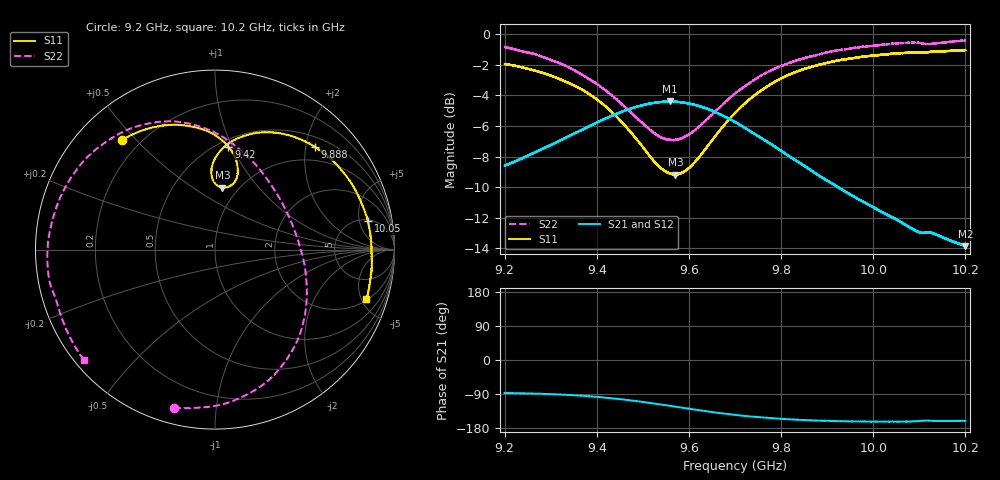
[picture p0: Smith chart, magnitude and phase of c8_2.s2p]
!Agilent Technologies,N5242A,MY51221714,A.09.90.19
!Agilent N5242A: A.09.90.19
!Date: Tuesday, March 26, 2024 16:01:22
!Correction: S11(Full 2 Port(1,2))
!S21(Full 2 Port(1,2))
!S12(Full 2 Port(1,2))
!S22(Full 2 Port(1,2))
!S2P File: Measurements: S11, S21, S12, S22:
# Hz S  dB  R 50
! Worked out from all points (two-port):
!   16001 points, 9.2 GHz to 10.2 GHz, reference 50 ohm
!   highest |S21| = -4.39 dB at 9.559 GHz (marker M1); lowest = -13.9 dB at 10.2 GHz (marker M2)
!   |S21| within 3 dB of the highest: 9.290546 GHz to 9.29079 GHz (243.8 kHz wide, 0.00262 % of centre); 9.291 GHz to 9.788 GHz (497.1 MHz wide, 5.21 % of centre)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
!   lowest |S11| = -9.2 dB at 9.57 GHz (marker M3), VSWR 2.06, Z = 42.4 + j33.2 ohm
!   |S11| at or under -10 dB: nowhere
!   |S22| runs from -6.9 to -0.4 dB; largest |S21 - S12| = 0.0075
!   S11 on the Smith chart (normalised r, x): 9.2 GHz: 0.13, +0.46; 9.42 GHz: 0.56, +0.97; 9.888 GHz: 0.69, +2.18; 10.05 GHz: 5.29, +6.79; 10.2 GHz: 2.09, -5.47
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9.2e9  -1.94 130.3  -8.60 -87.2  -8.58 -88.0  -0.83 -104.5
9.279312e9  -2.50 112.9  -7.54 -89.2  -7.53 -89.8  -1.44 -82.8
9.32425e9  -3.00 102.9  -6.89 -91.3  -6.87 -91.9  -1.95 -70.4
9.366688e9  -3.60 93.6  -6.26 -94.3  -6.26 -94.9  -2.64 -58.6
9.420188e9  -4.75 82.6  -5.49 -99.5  -5.50 -100.2  -3.71 -42.4
9.47775e9  -6.56 74.3  -4.82 -107.2  -4.83 -107.8  -5.24 -21.3
9.533375e9  -8.60 75.6  -4.45 -116.3  -4.44 -116.9  -6.61 6.1
9.559188e9  -9.11 80.5  -4.39 -120.9  -4.39 -121.6  -6.90 21.5
9.5705e9  -9.19 83.2  -4.43 -123.1  -4.40 -123.6  -6.91 28.2
9.638e9  -7.42 92.7  -4.85 -135.2  -4.86 -135.8  -5.59 64.7
9.7e9  -5.16 86.8  -5.73 -144.8  -5.73 -145.4  -3.88 87.9
9.741562e9  -4.02 78.8  -6.51 -149.8  -6.51 -150.4  -2.99 100.3
9.780375e9  -3.23 70.3  -7.24 -153.6  -7.24 -154.2  -2.33 110.9
9.825312e9  -2.55 60.0  -8.14 -157.0  -8.14 -157.5  -1.80 122.6
9.866688e9  -2.12 50.6  -8.94 -159.3  -8.94 -159.9  -1.43 133.1
9.887625e9  -1.96 45.8  -9.34 -160.0  -9.36 -160.6  -1.28 138.6
9.962312e9  -1.53 29.4  -10.71 -162.0  -10.68 -162.5  -0.88 157.6
1.003338e10  -1.31 14.4  -11.87 -162.5  -11.86 -163.2  -0.64 175.8
1.005181e10  -1.23 10.5  -12.14 -162.6  -12.15 -163.1  -0.60 -179.5
1.010144e10  -1.18 0.6  -12.97 -160.9  -12.97 -161.4  -0.57 -167.0
1.019988e10  -1.04 -18.2  -13.87 -160.7  -13.87 -161.1  -0.41 -139.8
1.02e10  -1.03 -18.2  -13.85 -160.7  -13.86 -161.1  -0.42 -139.8
